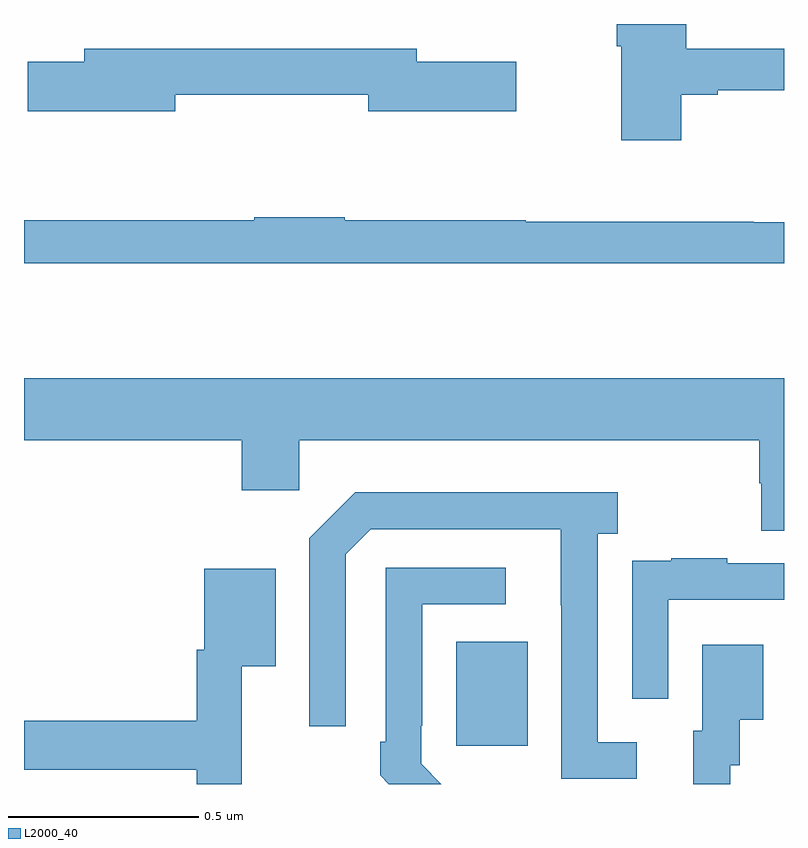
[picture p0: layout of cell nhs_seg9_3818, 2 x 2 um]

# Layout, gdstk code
import gdstk
lib = gdstk.Library(unit=1e-6, precision=1e-09)
def R(c, l, rs):  # rectangles x0, y0, x1, y1
    for r in rs: c.add(gdstk.rectangle(r[:2], r[2:], *l))
def P(c, l, *ps):  # polygons
    for p in ps: c.add(gdstk.Polygon(p, *l))
L2000_40 = (2000, 40)

nhs_seg9_3818 = lib.new_cell('nhs_seg9_3818')
R(nhs_seg9_3818, L2000_40, [(159.137,1211.601,159.325,1211.875)])
P(nhs_seg9_3818, L2000_40, [(159.73,1213.314),(159.826,1213.314),(159.826,1213.326),(160,1213.326),(160,1213.435),(159.743,1213.435),(159.743,1213.5),(159.56,1213.5),(159.56,1213.442),(159.572,1213.442),(159.572,1213.194),(159.73,1213.194)],
  [(158.398,1213.314),(158.906,1213.314),(158.906,1213.271),(159.295,1213.271),(159.295,1213.401),(159.034,1213.401),(159.034,1213.435),(158.159,1213.435),(158.159,1213.401),(158.01,1213.401),(158.01,1213.271),(158.398,1213.271)],
  [(160,1212.978),(159.92,1212.978),(159.92,1212.98),(159.32,1212.98),(159.32,1212.983),(158.844,1212.983),(158.844,1212.991),(158.606,1212.991),(158.606,1212.983),(158,1212.983),(158,1212.87),(160,1212.87)],
  [(160,1212.568),(158,1212.568),(158,1212.404),(158.573,1212.404),(158.573,1212.273),(158.724,1212.273),(158.724,1212.404),(159.935,1212.404),(159.935,1212.291),(159.94,1212.291),(159.94,1212.166),(160,1212.166)],
  [(159.613,1211.61),(159.51,1211.61),(159.51,1212.158),(159.562,1212.158),(159.562,1212.268),(158.872,1212.268),(158.751,1212.147),(158.751,1211.652),(158.847,1211.652),(158.847,1212.105),(158.913,1212.171),(159.413,1212.171),(159.413,1211.971),(159.414,1211.971),(159.414,1211.514),(159.613,1211.514)],
  [(159.696,1211.985),(160,1211.985),(160,1212.081),(159.851,1212.081),(159.851,1212.094),(159.703,1212.094),(159.703,1212.087),(159.601,1212.087),(159.601,1211.978),(159.6,1211.978),(159.6,1211.724),(159.696,1211.724)],
  [(159.045,1211.553),(159.045,1211.653),(159.048,1211.653),(159.048,1211.973),(159.268,1211.973),(159.268,1212.069),(158.952,1212.069),(158.952,1211.611),(158.937,1211.611),(158.937,1211.523),(158.96,1211.5),(159.098,1211.5)],
  [(158.573,1211.81),(158.662,1211.81),(158.662,1212.067),(158.474,1212.067),(158.474,1211.853),(158.455,1211.853),(158.455,1211.666),(158,1211.666),(158,1211.538),(158.455,1211.538),(158.455,1211.5),(158.573,1211.5)],
  [(159.858,1211.55),(159.883,1211.55),(159.883,1211.669),(159.946,1211.669),(159.946,1211.866),(159.785,1211.866),(159.785,1211.64),(159.761,1211.64),(159.761,1211.5),(159.858,1211.5)])

lib.write_gds('nhs_seg9_3818.gds')
